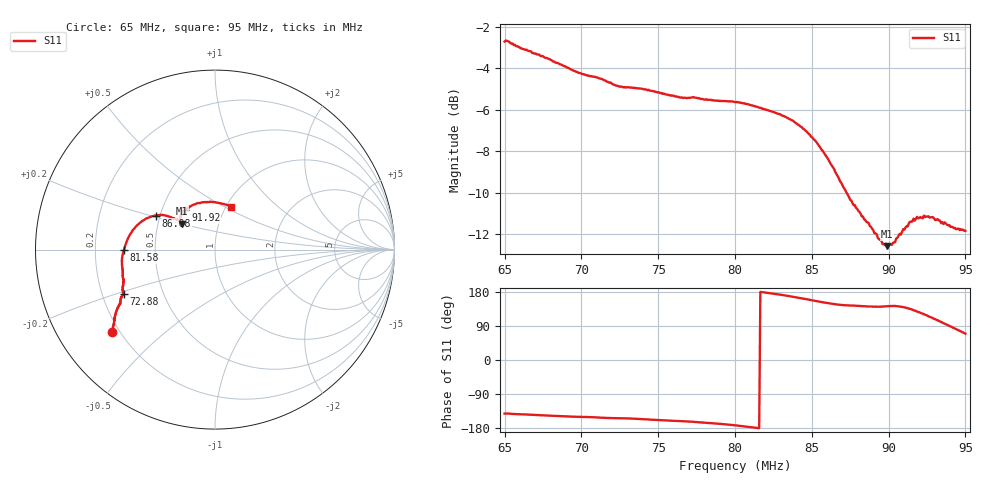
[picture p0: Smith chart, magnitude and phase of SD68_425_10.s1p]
! NanoVNA-App
! Date: 2025-08-09 16:39:01
! Start: 65MHz Stop: 95MHz Points: 401
! S-Parameter data: F S11
# Hz S RI R 50
!  Frequency  S11_Real  S11_Imag
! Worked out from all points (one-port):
!   401 points, 65 MHz to 95 MHz, reference 50 ohm
!   lowest |S11| = -12.6 dB at 89.9 MHz (marker M1), VSWR 1.62, Z = 33.1 + j10.2 ohm
!   |S11| at or under -10 dB: 87.27 MHz to end of sweep
!   S11 on the Smith chart (normalised r, x): 65 MHz: 0.17, -0.34; 72.88 MHz: 0.29, -0.21; 81.58 MHz: 0.33, -0.00; 86.08 MHz: 0.47, +0.21; 91.92 MHz: 0.66, +0.31; 95 MHz: 1.05, +0.54
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6.5e7  -0.5712 -0.4563
6.5225e7  -0.5713 -0.4575
6.59e7  -0.5665 -0.4273
6.875e7  -0.5472 -0.3356
7.25e7  -0.5103 -0.2518
7.2875e7  -0.5093 -0.2481
7.43e7  -0.5131 -0.2195
7.625e7  -0.5085 -0.1752
7.7225e7  -0.5132 -0.1578
7.895e7  -0.5159 -0.1076
8e7  -0.518 -0.0685
8.1575e7  -0.5069 -0.000701
8.285e7  -0.4859 0.0603
8.375e7  -0.46 0.1059
8.5175e7  -0.3886 0.1696
8.6075e7  -0.3292 0.19
8.66e7  -0.2935 0.193
8.75e7  -0.2454 0.1801
8.915e7  -0.1962 0.159
8.96e7  -0.1845 0.1504
8.99e7  -0.1852 0.1452
9.0425e7  -0.1914 0.1458
9.125e7  -0.1904 0.1807
9.1925e7  -0.1645 0.2196
9.275e7  -0.1081 0.254
9.335e7  -0.0554 0.2652
9.4025e7  0.00624 0.2617
9.5e7  0.0894 0.24
